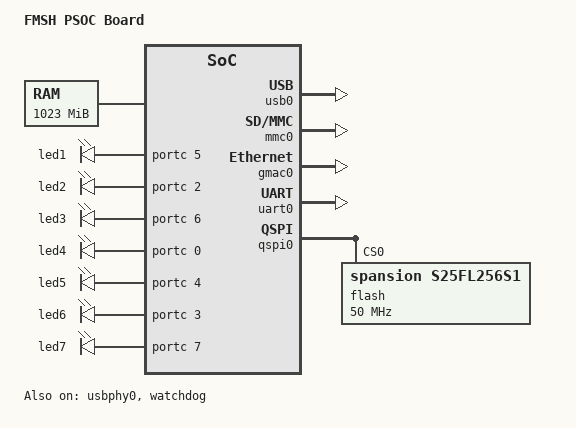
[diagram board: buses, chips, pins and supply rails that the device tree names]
/*
 * FMSH PSOC board DTS
 * Child board C EMMC_SRAM
 *
 * Copyright (C) 2018 FMSH, Inc.
 *
 * SPDX-License-Identifier:	GPL-2.0+
 */

#include "fmsh-psoc.dtsi"

/ {
	model = "FMSH PSOC Board";
	compatible = "fmsh,fmsh-psoc";

	memory {
		device_type = "memory";
		reg = <0x00100000 0x3ff00000>;
	};

	chosen {
		bootargs = "console=ttyPS0,115200 earlyprintk loglevel=8 root=/dev/ram rw";
		// bootargs = "console=ttyPS0,115200 earlyprintk loglevel=8 clk_ignore_unused root=/dev/ram rw";
		/* bootloader will place initrd at this address */
		linux,initrd-start = <0x12000000>;
		linux,initrd-end = <0x12800000>;
	};

	aliases {
			serial0 = &uart0;
			serial1 = &uart1;
	};

	leds {
		compatible = "gpio-leds";

		led1 {
			label = "led1";
			gpios = <&portc 5 0>;
			default-state = "off";
		};

		led2 {
			label = "led2";
			gpios = <&portc 2 0>;
			default-state = "off";
		};

		led3 {
			label = "led3";
			gpios = <&portc 6 0>;
			default-state = "off";
		};

		led4 {
			label = "led4";
			gpios = <&portc 0 0>;
			default-state = "off";
		};

		led5 {
			label = "led5";
			gpios = <&portc 4 0>;
			default-state = "off";
		};

		led6 {
			label = "led6";
			gpios = <&portc 3 0>;
			default-state = "off";
		};

		led7 {
			label = "led7";
			gpios = <&portc 7 0>;
			default-state = "off";
		};
	};
};

&clkc {
	ps-clk-frequency = <33333333>;
};

&dmahost {
	status = "okay";
};

&usbphy0 {
	status = "okay";
};

&usb0 {
	status = "okay";
};

&watchdog {
	status = "okay";
};

&mmc0 {
	broken-cd;		// poll
	card-detect-delay = <200>;
	status = "okay";
//	clock-freq-min-max = <400000 400000>;
};

&mmc1 {
//	status = "okay";
//	clock-freq-min-max = <400000 400000>;
};

&gmac0 {
	status = "okay";
};

&uart0 {
	status = "okay";
};

&uart1 {
//	status = "okay";
};

&qspi0 {
	status = "okay";

	flash: flash@0 {
		compatible = "spansion,s25fl256s1", "jedec,spi-nor";
		reg = <0>;
		spi-max-frequency = <50000000>;
		cdns,read-delay = <2>;
		cdns,tshsl-ns = <0>;
		cdns,tsd2d-ns = <0>;
		cdns,tchsh-ns = <0>;
		cdns,tslch-ns = <0>;
	};
};

&gpio0 {
	status = "okay";
};

&gpio1 {
	status = "okay";
};

&gpio2 {
	status = "okay";
};

&gpio3 {
	status = "okay";
};

